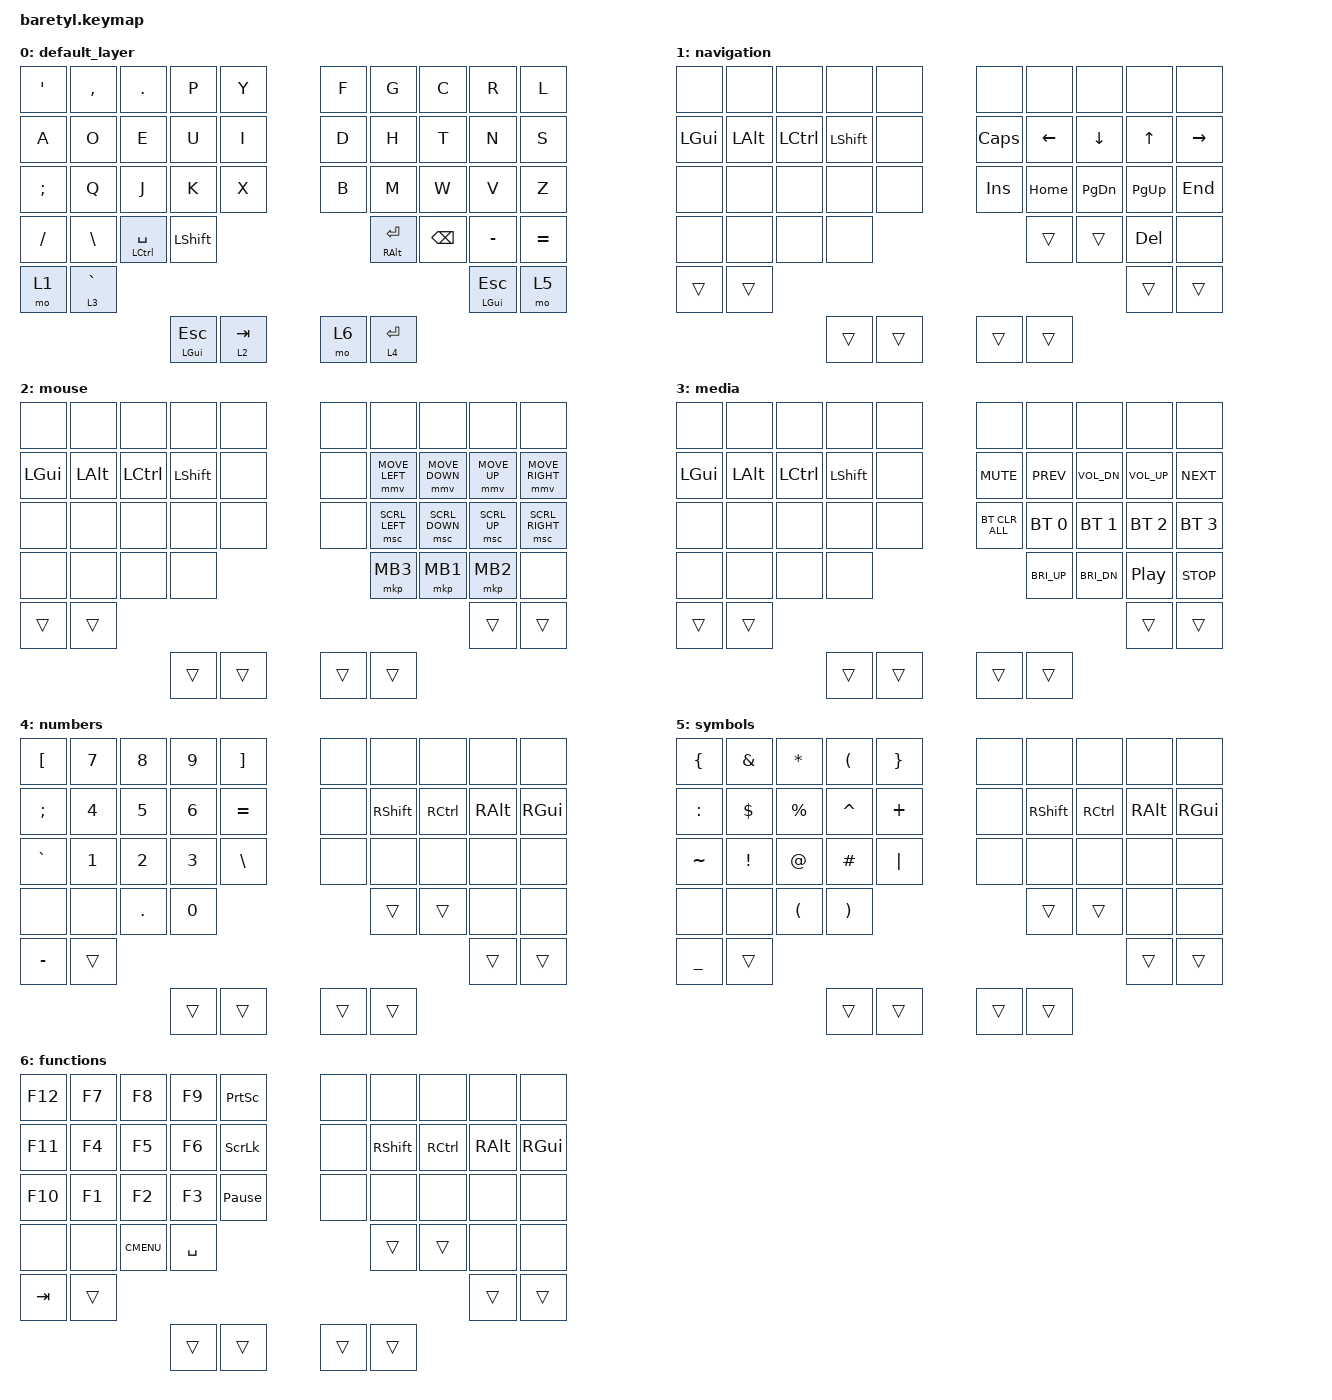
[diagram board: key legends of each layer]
#include <behaviors.dtsi>
#include <dt-bindings/zmk/keys.h>
#include <dt-bindings/zmk/bt.h>
#include <dt-bindings/zmk/pointing.h>
#include <behaviors/mouse_keys.dtsi>

/ {
    keymap {
        compatible = "zmk,keymap";

        default_layer { // Layer 0
            bindings = <
                    &kp APOSTROPHE     &kp COMMA &kp DOT   &kp P   &kp Y                                       &kp F &kp G &kp C &kp R &kp L
                    &kp A       &kp O     &kp E     &kp U   &kp I                                       &kp D &kp H &kp T &kp N &kp S
                    &kp SEMI    &kp Q     &kp J     &kp K   &kp X                                       &kp B &kp M &kp W &kp V &kp Z
                    &kp FSLH    &kp BSLH  &mt LCTRL SPACE   &kp LSHIFT               &mt RALT RET &kp BSPC &kp MINUS &kp EQUAL
                                                        &mo 1 &lt 3 GRAVE              &mt LGUI ESC &mo 5
                                                        &mt LGUI ESC &lt 2 TAB         &mo 6 &lt 4 RET
            >;
        };


        navigation {
            bindings = <
                    &none     &none &none   &none   &none                                       &none &none &none &none &none
                    &kp LGUI       &kp LALT     &kp LCTRL     &kp LSHIFT   &none                &kp CAPS &kp LEFT &kp DOWN &kp UP &kp RIGHT
                    &none    &none    &none     &none   &none                                   &kp INSERT &kp HOME &kp PG_DN &kp PG_UP &kp END
                    &none    &none  &none   &none                                   &trans &trans &kp DEL  &none
                                                        &trans &trans              &trans &trans
                                                        &trans &trans              &trans &trans
            >;
        };

        mouse {
            bindings = <
                    &none     &none &none   &none   &none                                       &none &none &none &none &none
                    &kp LGUI       &kp LALT     &kp LCTRL     &kp LSHIFT   &none                &none &mmv MOVE_LEFT &mmv MOVE_DOWN &mmv MOVE_UP &mmv MOVE_RIGHT
                    &none    &none    &none     &none   &none                                   &none &msc SCRL_LEFT &msc SCRL_DOWN &msc SCRL_UP &msc SCRL_RIGHT
                    &none    &none  &none   &none                                   &mkp MB3 &mkp MB1 &mkp MB2  &none
                                                        &trans &trans              &trans &trans
                                                        &trans &trans              &trans &trans
            >;
        };

        media {
            bindings = <
                    &none     &none &none   &none   &none                                       &none &none &none &none &none
                    &kp LGUI       &kp LALT     &kp LCTRL     &kp LSHIFT   &none                &kp C_MUTE &kp C_PREV &kp C_VOL_DN &kp C_VOL_UP &kp C_NEXT
                    &none    &none    &none     &none   &none                                   &bt BT_CLR_ALL &bt BT_SEL 0 &bt BT_SEL 1 &bt BT_SEL 2 &bt BT_SEL 3
                    &none    &none  &none   &none                                   &kp C_BRI_UP &kp C_BRI_DN &kp C_PP  &kp C_STOP
                                                        &trans &trans              &trans &trans
                                                        &trans &trans              &trans &trans
            >;
        };

        numbers {
            bindings = <
                    &kp LBKT     &kp N7 &kp N8   &kp N9   &kp RBKT                                       &none     &none &none   &none   &none
                    &kp SEMI       &kp N4     &kp N5     &kp N6   &kp EQUAL                               &none &kp RSHIFT &kp RCTRL  &kp RALT &kp RGUI
                    &kp GRAVE    &kp N1    &kp N2     &kp N3   &kp BSLH                        &none    &none    &none     &none   &none
                    &none    &none  &kp DOT   &kp N0                                   &trans &trans &none &none
                                                        &kp MINUS &trans              &trans &trans
                                                        &trans &trans              &trans &trans
            >;
        };

        symbols {
            bindings = <
                    &kp LBRC     &kp AMPS &kp STAR   &kp LPAR   &kp RBRC                                       &none     &none &none   &none   &none
                    &kp COLON       &kp DOLLAR     &kp PRCNT     &kp CARET   &kp PLUS                               &none &kp RSHIFT &kp RCTRL  &kp RALT &kp RGUI
                    &kp TILDE    &kp EXCL    &kp AT     &kp HASH   &kp PIPE                        &none    &none    &none     &none   &none
                    &none    &none  &kp LPAR   &kp RPAR                                   &trans &trans &none &none
                                                        &kp UNDER &trans              &trans &trans
                                                        &trans &trans              &trans &trans
            >;
        };

        functions {
            bindings = <
                    &kp F12     &kp F7 &kp F8   &kp F9   &kp PSCRN                                       &none     &none &none   &none   &none
                    &kp F11       &kp F4     &kp F5     &kp F6   &kp SLCK                               &none &kp RSHIFT &kp RCTRL  &kp RALT &kp RGUI
                    &kp F10    &kp F1    &kp F2     &kp F3   &kp PAUSE_BREAK                        &none    &none    &none     &none   &none
                    &none    &none  &kp K_CMENU   &kp SPACE                                   &trans &trans &none &none
                                                        &kp TAB &trans              &trans &trans
                                                        &trans &trans              &trans &trans
            >;
        };
    };
 };
